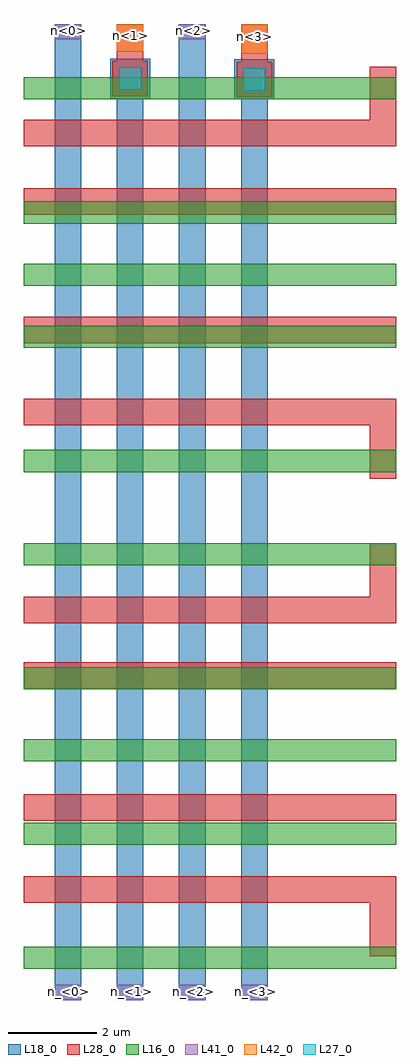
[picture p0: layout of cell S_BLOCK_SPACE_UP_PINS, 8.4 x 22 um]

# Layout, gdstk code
import gdstk
lib = gdstk.Library(unit=1e-6, precision=1e-09)
def R(c, l, rs):  # rectangles x0, y0, x1, y1
    for r in rs: c.add(gdstk.rectangle(r[:2], r[2:], *l))
def A(c, l, x, y, w, h, nx, ny, dx, dy):  # array of equal rectangles
    R(c, l, [(x+i*dx, y+j*dy, x+i*dx+w, y+j*dy+h) for i in range(nx) for j in range(ny)])
L16_0 = (16, 0)
L18_0 = (18, 0)
L27_0 = (27, 0)
L28_0 = (28, 0)
L41_0 = (41, 0)
L42_0 = (42, 0)

m3_m2_cdns_745550374080 = lib.new_cell('M3_M2_CDNS_745550374080')
R(m3_m2_cdns_745550374080, L18_0, [(-0.45,-0.45,0.45,0.45)])
R(m3_m2_cdns_745550374080, L27_0, [(-0.25,-0.25,0.25,0.25)])
R(m3_m2_cdns_745550374080, L28_0, [(-0.4,-0.4,0.4,0.4)])

s_block_space_up_pins = lib.new_cell('S_BLOCK_SPACE_UP_PINS')
A(s_block_space_up_pins, L16_0, 0, 14.7, 8.4, 0.5, 1, 3, 0, 1.4)
R(s_block_space_up_pins, L16_0, [(0,0.7,8.4,1.2), (0,3.5,8.4,4), (0,5.38,8.4,5.88), (0,7,8.4,7.5), (0,9.8,8.4,10.3), (0,11.9,8.4,12.4), (0,20.3,8.4,20.8)])
R(s_block_space_up_pins, L28_0, [(7.8,0.99,8.4,2.79), (0,2.19,8.4,2.79), (0,4.04,8.4,4.64), (0,7.01,8.4,7.61), (0,8.49,8.4,9.09), (7.8,8.49,8.4,10.29), (7.8,11.75,8.4,13.55), (0,12.95,8.4,13.55), (0,14.8,8.4,15.4), (0,17.7,8.4,18.3), (0,19.24,8.4,19.84), (7.8,19.24,8.4,21.04)])
A(s_block_space_up_pins, L41_0, 0.7, 0, 0.6, 0.34, 4, 1, 1.4, 0)
R(s_block_space_up_pins, L41_0, [(0.7,21.66,1.3,22), (3.5,21.66,4.1,22)])
R(s_block_space_up_pins, L42_0, [(4.9,21.33,5.5,22), (2.1,21.37,2.7,22)])
s_block_space_up_pins.add(gdstk.FlexPath([(1,22),(1,0)], 0.6, ends="flush", simple_path=True, layer=18, datatype=0))  # L18_0
s_block_space_up_pins.add(gdstk.FlexPath([(2.4,20.77),(2.4,0)], 0.6, ends="flush", simple_path=True, layer=18, datatype=0))  # L18_0
s_block_space_up_pins.add(gdstk.FlexPath([(3.8,22),(3.8,0)], 0.6, ends="flush", simple_path=True, layer=18, datatype=0))  # L18_0
s_block_space_up_pins.add(gdstk.FlexPath([(5.2,20.75),(5.2,0)], 0.6, ends="flush", simple_path=True, layer=18, datatype=0))  # L18_0
s_block_space_up_pins.add(gdstk.FlexPath([(5.2,22),(5.2,20.75)], 0.6, ends="flush", simple_path=True, layer=28, datatype=0))  # L28_0
s_block_space_up_pins.add(gdstk.FlexPath([(2.4,22),(2.4,20.77)], 0.6, ends="flush", simple_path=True, layer=28, datatype=0))  # L28_0
s_block_space_up_pins.add(gdstk.Reference(m3_m2_cdns_745550374080, (5.2,20.75)))
s_block_space_up_pins.add(gdstk.Reference(m3_m2_cdns_745550374080, (2.4,20.77)))
s_block_space_up_pins.add(gdstk.Label('n_<3>', (5.22,0.19), layer=41, texttype=0))
s_block_space_up_pins.add(gdstk.Label('n_<2>', (3.82,0.19), layer=41, texttype=0))
s_block_space_up_pins.add(gdstk.Label('n_<0>', (1.02,0.19), layer=41, texttype=0))
s_block_space_up_pins.add(gdstk.Label('n_<1>', (2.42,0.19), layer=41, texttype=0))
s_block_space_up_pins.add(gdstk.Label('n<2>', (3.82,21.85), layer=41, texttype=0))
s_block_space_up_pins.add(gdstk.Label('n<0>', (1.02,21.85), layer=41, texttype=0))
s_block_space_up_pins.add(gdstk.Label('n<3>', (5.21,21.71), layer=42, texttype=0))
s_block_space_up_pins.add(gdstk.Label('n<1>', (2.4,21.75), layer=42, texttype=0))

lib.write_gds('S_BLOCK_SPACE_UP_PINS.gds')
